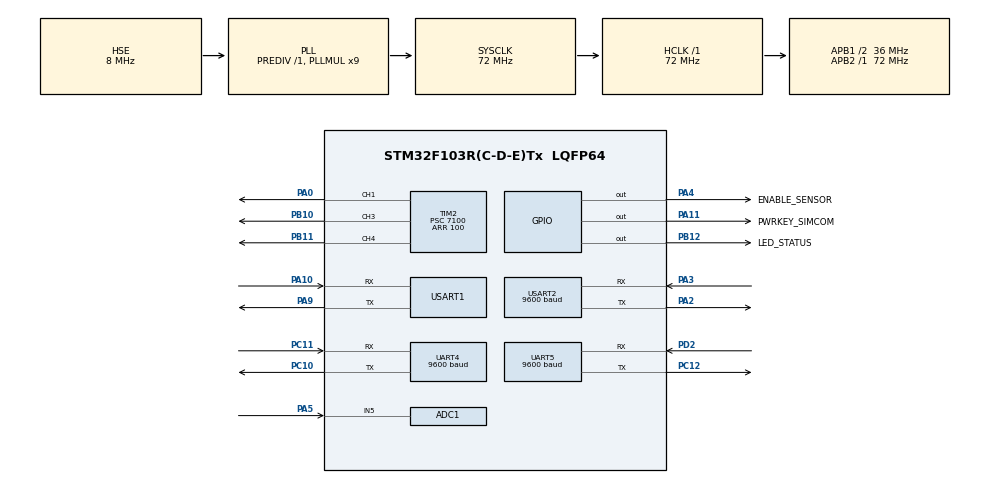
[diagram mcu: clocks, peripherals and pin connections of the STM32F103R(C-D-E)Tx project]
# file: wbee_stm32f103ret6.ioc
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ADC1.Channel-0\#ChannelRegularConversion=ADC_CHANNEL_5
ADC1.ContinuousConvMode=ENABLE
ADC1.EnableAnalogWatchDog=false
ADC1.NbrOfConversion=1
ADC1.NbrOfConversionFlag=1
ADC1.Rank-0\#ChannelRegularConversion=1
ADC1.SamplingTime-0\#ChannelRegularConversion=ADC_SAMPLETIME_239CYCLES_5
ADC1.master=1
Dma.ADC1.0.Direction=DMA_PERIPH_TO_MEMORY
Dma.ADC1.0.Instance=DMA1_Channel1
Dma.ADC1.0.MemDataAlignment=DMA_MDATAALIGN_HALFWORD
Dma.ADC1.0.MemInc=DMA_MINC_ENABLE
Dma.ADC1.0.Mode=DMA_CIRCULAR
Dma.ADC1.0.PeriphDataAlignment=DMA_PDATAALIGN_HALFWORD
Dma.ADC1.0.PeriphInc=DMA_PINC_DISABLE
Dma.ADC1.0.Priority=DMA_PRIORITY_LOW
Dma.Request0=ADC1
IWDG.Prescaler=IWDG_PRESCALER_256
Mcu.Family=STM32F1
Mcu.Name=STM32F103R(C-D-E)Tx
Mcu.Package=LQFP64
NVIC.DMA1_Channel1_IRQn=true\:14\:0\:true\:false\:true\:false\:true\:true
NVIC.FLASH_IRQn=true\:0\:0\:false\:false\:true\:true\:true\:true
NVIC.PriorityGroup=NVIC_PRIORITYGROUP_4
NVIC.RCC_IRQn=true\:0\:0\:false\:false\:true\:true\:false\:true
NVIC.TIM3_IRQn=true\:1\:0\:true\:false\:true\:true\:true\:true
NVIC.TIM6_IRQn=true\:2\:0\:true\:false\:true\:true\:true\:true
NVIC.UART4_IRQn=true\:6\:0\:true\:false\:true\:true\:true\:true
NVIC.UART5_IRQn=true\:1\:0\:true\:false\:true\:true\:true\:true
NVIC.USART1_IRQn=true\:2\:0\:true\:false\:true\:true\:true\:true
NVIC.USART2_IRQn=true\:3\:0\:true\:false\:true\:true\:true\:true
PA0-WKUP.Signal=S_TIM2_CH1_ETR
PA10.Mode=Asynchronous
PA10.Signal=USART1_RX
PA11.GPIO_Label=PWRKEY_SIMCOM
PA11.Signal=GPIO_Output
PA13.Mode=Trace_Asynchronous_SW
PA13.Signal=SYS_JTMS-SWDIO
PA14.Mode=Trace_Asynchronous_SW
PA14.Signal=SYS_JTCK-SWCLK
PA2.Mode=Asynchronous
PA2.Signal=USART2_TX
PA3.Mode=Asynchronous
PA3.Signal=USART2_RX
PA4.GPIO_Label=ENABLE_SENSOR
PA4.GPIO_PuPd=GPIO_PULLDOWN
PA4.Signal=GPIO_Output
PA5.Signal=ADCx_IN5
PA9.Mode=Asynchronous
PA9.Signal=USART1_TX
PB10.Signal=S_TIM2_CH3
PB11.Signal=S_TIM2_CH4
PB12.GPIO_Label=LED_STATUS
PB12.Signal=GPIO_Output
PB3.Mode=Trace_Asynchronous_SW
PB3.Signal=SYS_JTDO-TRACESWO
PC10.Mode=Asynchronous
PC10.Signal=UART4_TX
PC11.Mode=Asynchronous
PC11.Signal=UART4_RX
PC12.Mode=Asynchronous
PC12.Signal=UART5_TX
PD0-OSC_IN.Mode=HSE-External-Oscillator
PD0-OSC_IN.Signal=RCC_OSC_IN
PD1-OSC_OUT.Mode=HSE-External-Oscillator
PD1-OSC_OUT.Signal=RCC_OSC_OUT
PD2.Mode=Asynchronous
PD2.Signal=UART5_RX
ProjectManager.HeapSize=0x200
ProjectManager.StackSize=0x400
ProjectManager.TargetToolchain=STM32CubeIDE
RCC.ADCPresc=RCC_ADCPCLK2_DIV6
RCC.AHBFreq_Value=72000000
RCC.APB1CLKDivider=RCC_HCLK_DIV2
RCC.APB1Freq_Value=36000000
RCC.APB1TimFreq_Value=72000000
RCC.APB2Freq_Value=72000000
RCC.APB2TimFreq_Value=72000000
RCC.HCLKFreq_Value=72000000
RCC.PLLMUL=RCC_PLL_MUL9
RCC.PLLSourceVirtual=RCC_PLLSOURCE_HSE
RCC.SYSCLKFreq_VALUE=72000000
RCC.SYSCLKSource=RCC_SYSCLKSOURCE_PLLCLK
RCC.USBFreq_Value=72000000
SH.ADCx_IN5.0=ADC1_IN5,IN5
SH.S_TIM2_CH1_ETR.0=TIM2_CH1,PWM Generation1 CH1
SH.S_TIM2_CH3.0=TIM2_CH3,PWM Generation3 CH3
SH.S_TIM2_CH4.0=TIM2_CH4,PWM Generation4 CH4
TIM2.Channel-PWM\ Generation1\ CH1=TIM_CHANNEL_1
TIM2.Channel-PWM\ Generation3\ CH3=TIM_CHANNEL_3
TIM2.Channel-PWM\ Generation4\ CH4=TIM_CHANNEL_4
TIM2.Period=100
TIM2.Prescaler=7100
TIM2.Pulse-PWM\ Generation1\ CH1=99
TIM2.Pulse-PWM\ Generation3\ CH3=99
TIM2.Pulse-PWM\ Generation4\ CH4=99
TIM3.Period=999
TIM3.Prescaler=59999
TIM6.Period=1999
TIM6.Prescaler=35999
UART4.BaudRate=9600
UART4.VirtualMode=Asynchronous
UART5.BaudRate=9600
UART5.VirtualMode=Asynchronous
USART1.VirtualMode=VM_ASYNC
USART2.BaudRate=9600
USART2.VirtualMode=VM_ASYNC
VP_IWDG_VS_IWDG.Mode=IWDG_Activate
VP_TIM2_VS_ClockSourceINT.Mode=Internal
VP_TIM3_VS_ClockSourceINT.Mode=Internal
VP_TIM6_VS_ClockSourceINT.Mode=Enable_Timer
board=custom

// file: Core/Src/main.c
/* USER CODE BEGIN Header */
/**
 ******************************************************************************
 * @file           : main.c
 * @brief          : Main program body
 ******************************************************************************
 * @attention
 *
 * Copyright (c) 2025 STMicroelectronics.
 * All rights reserved.
 *
 * This software is licensed under terms that can be found in the LICENSE file
 * in the root directory of this software component.
 * If no LICENSE file comes with this software, it is provided AS-IS.
 *
 ******************************************************************************
 */
/* USER CODE END Header */
#include "main.h"

/* USER CODE BEGIN Includes */
#include "cfg_store.h"
#include "ph_json_uart5_rx.h"
#include "ph_pump_isr.h"
#include "ph_pump_scheduler.h"
#include "plc_rs485.h"
#include "ota_update.h"
#include "mobi_mqtt.h"
#include "stdbool.h"
#include "stdio.h"
#include "stdlib.h"
#include "string.h"
#include <config.h>
#include <stdio.h>

/* USER CODE END Includes */

/* USER CODE BEGIN PTD */
ph_ctrl_cfg_t g_cfg;
ph_pump_isr_sm_t ph_sm_isr;

// static ph_dual_sm_t ph_sm;
volatile uint32_t g_control_mode = 0; // 0=Offline, 1=Online

/* USER CODE END PTD */

/* USER CODE BEGIN PM */
int _write(int file, char *ptr, int len) {

  int i;
  for (i = 0; i < len; i++) {
    ITM_SendChar(*ptr++);
  }
  return len;
}

/* USER CODE END PM */

ADC_HandleTypeDef hadc1;
DMA_HandleTypeDef hdma_adc1;

IWDG_HandleTypeDef hiwdg;

TIM_HandleTypeDef htim2;
TIM_HandleTypeDef htim3;
TIM_HandleTypeDef htim6;

UART_HandleTypeDef huart4;
UART_HandleTypeDef huart5;
UART_HandleTypeDef huart1;
UART_HandleTypeDef huart2;

/* USER CODE BEGIN PV */
static volatile uint16_t lcd_update_counter_1hz = 0;

/* USER CODE END PV */

void SystemClock_Config(void);
static void MX_GPIO_Init(void);
static void MX_DMA_Init(void);
static void MX_IWDG_Init(void);
static void MX_TIM6_Init(void);
static void MX_UART4_Init(void);
static void MX_USART1_UART_Init(void);
static void MX_USART2_UART_Init(void);
static void MX_TIM2_Init(void);
static void MX_TIM3_Init(void);
static void MX_ADC1_Init(void);
static void MX_UART5_Init(void);

/* USER CODE BEGIN PFP */

void HAL_TIM_PeriodElapsedCallback(TIM_HandleTypeDef *htim) {
  if (htim->Instance == htim6.Instance) {
    // ===== (A) GIỮ NGUYÊN phần SIMCOM đếm gửi server =====
    frequency_1hz++;
    lcd_update_counter_1hz++;
    plc_rs485_tick_1s();
    if (current_status_simcom == Subscribed) {
      if (frequency_1hz >= INTERVAL_PUPLISH_DATA) {
        //        current_status_simcom = UpdateToServer;
        to_send_status_to_server = 1;
        frequency_1hz = 0;

        // NOTE: KHÔNG NÊN printf ở ISR (nếu cần debug thì set flag)
        // printf("Case error log total :%d\r\n", total_errors);
      }
    }
    // ===== (B) LỊCH BƠM chạy trong ISR mỗi 1s (chỉ Offline) =====
#if PH_PUMP_SCHEDULE_ENABLE
    ph_pump_isr_tick_1s(&ph_sm_isr, &g_cfg, data_measured_ph_fuvitech, &htim2, &motor_ph_plus, &motor_ph_minus);
#endif

    // NOTE: dòng này thường KHÔNG cần gọi trong callback (timer tự chạy)
    // HAL_TIM_Base_Start_IT(&htim6);
  }
}

static bool publish_command_response_with_retry(const char *request_id,
                                                const char *command,
                                                const char *result,
                                                const char *error_code) {
  for (uint8_t attempt = 0U; attempt < 3U; attempt++) {
    IWDG->KR = 0xAAAA;
    if (mobi_mqtt_publish_command_response(request_id, command, result,
                                           error_code)) {
      return true;
    }
    printf("[MQTT] command response retry %u/3\r\n",
           (unsigned int)(attempt + 1U));
  }
  return false;
}

void process_uart_rx(void) {
  if (!g_rx_flag)
    return;
  g_rx_flag = 0;

  // trim CRLF
  for (int i = (int)strlen(g_rx_line) - 1; i >= 0; i--) {
    if (g_rx_line[i] == '\r' || g_rx_line[i] == '\n')
      g_rx_line[i] = '\0';
    else
      break;
  }

  // 1) mode-only
  uint32_t mode;
  if (parse_mode_json(g_rx_line, &mode)) {
    mode = mode ? 1U : 0U;
    if (g_cfg.control_mode != mode) {
      g_cfg.control_mode = mode;
      cfg_print(&g_cfg, "MODE UPDATE");
      cfg_save_to_flash();
      g_control_mode = g_cfg.control_mode;
    }

    // reset lịch bơm trong ISR
    ph_pump_isr_request_reset();
    return;
  }

  // 2) config 5 field (giữ control_mode)
  ph_ctrl_cfg_t cfg_tmp = g_cfg;
  if (parse_control_json(g_rx_line, &cfg_tmp)) {
    g_cfg = cfg_tmp;
    cfg_print(&g_cfg, "CFG UPDATE");
    cfg_save_to_flash();

    // reset lịch bơm trong ISR để áp dụng config mới
    ph_pump_isr_request_reset();
    return;
  }

  printf("JSON invalid\r\n");
}

/* USER CODE END PFP */

/* USER CODE BEGIN 0 */
char rx_buffer[700];
enum GmsModemState current_status_simcom = Off;
uint16_t adc_pin_valve;

/* USER CODE END 0 */

int main(void) {

  /* MCU Configuration--------------------------------------------------------*/

  /* Reset of all peripherals, Initializes the Flash interface and the Systick. */
  HAL_Init();

  /* Configure the system clock */
  SystemClock_Config();

  /* Initialize all configured peripherals */
  MX_GPIO_Init();
  MX_DMA_Init();
  MX_IWDG_Init();
  MX_TIM6_Init();
  MX_UART4_Init();
  MX_USART1_UART_Init();
  MX_USART2_UART_Init();
  MX_TIM2_Init();
  MX_TIM3_Init();
  MX_ADC1_Init();
  MX_UART5_Init();
  /* USER CODE BEGIN 2 */
  HAL_Delay(500);
  printf("Hello Hbee \r\n");
  HAL_UARTEx_ReceiveToIdle_IT(&huart1, (uint8_t *)rx_buffer, 700);
  HAL_UARTEx_ReceiveToIdle_IT(&huart2, (uint8_t *)rx_buffer_fuvitech, 100);
  uart5_rx_start_to_idle();
  //  ph_json_uart5_rx_init(&huart5);

  HAL_TIM_Base_Start_IT(&htim6);
  HAL_ADC_Start_DMA(&hadc1, (uint32_t *)&adc_pin_valve, 1);
  HAL_GPIO_WritePin(GPIOA, ENABLE_SENSOR_Pin, GPIO_PIN_SET);
  HAL_Delay(500);
  plc_rs485_init();
  ota_init();
  cfg_load_from_flash();
  snprintf(tx5_status_pump, sizeof(tx5_status_pump), data_status_pump,
           device_serial_get(), motor_ph_plus, motor_ph_minus, motor_x);
  is_publish_data_lcd = update_data_to_sreen((uint8_t *)tx5_status_pump);
#if SENSOR_DATA_SOURCE == SENSOR_SOURCE_DIRECT
  read_sensor();
#endif
  create_JSON_LCD();
  HAL_Delay(200);
  is_publish_data_lcd = update_data_to_sreen((uint8_t *)array_json);
  snprintf(tx5_status_pump, sizeof(tx5_status_pump), data_status_pump,
           device_serial_get(), motor_ph_plus, motor_ph_minus, motor_x);
  HAL_Delay(700);
  is_publish_data_lcd = update_data_to_sreen((uint8_t *)tx5_status_pump);
  ph_pump_isr_init(&ph_sm_isr);

  //  control_mode=ONLINE;
  /* USER CODE END 2 */

  /* Infinite loop */
  while (1) {

    /* USER CODE BEGIN 3 */
    check_handle_state(current_status_simcom);
    if (to_change_serial_number && current_status_simcom == Subscribed) {
      char request_id[MQTT_REQUEST_ID_MAX_LEN];
      char new_serial[DEVICE_SERIAL_MAX_LEN];

      __disable_irq();
      to_change_serial_number = false;
      snprintf(request_id, sizeof(request_id), "%s", serial_request_id);
      snprintf(new_serial, sizeof(new_serial), "%s",
               requested_serial_number);
      __enable_irq();

      if (!device_serial_is_valid(new_serial)) {
        printf("[SERIAL] rejected invalid value: %s\r\n", new_serial);
        publish_command_response_with_retry(request_id, "set_serial_number",
                                            "rejected",
                                            "INVALID_SERIAL_NUMBER");
      } else if (!publish_command_response_with_retry(
                     request_id, "set_serial_number", "received", NULL)) {
        printf("[SERIAL] ACK failed; serial unchanged\r\n");
      } else if (!device_serial_save(new_serial)) {
        printf("[SERIAL] Flash save failed\r\n");
        publish_command_response_with_retry(request_id, "set_serial_number",
                                            "failed", "FLASH_WRITE_FAILED");
      } else {
        printf("[SERIAL] saved new value=%s\r\n", new_serial);
        publish_command_response_with_retry(request_id, "set_serial_number",
                                            "success", NULL);
        printf("[SERIAL] reboot with new serial number\r\n");
        HAL_Delay(500);
        NVIC_SystemReset();
      }
    }
    if (to_start_ota && current_status_simcom == Subscribed) {
      char request_id[MQTT_REQUEST_ID_MAX_LEN];
      char command[MQTT_COMMAND_MAX_LEN];
      ota_result_t ota_result;

      __disable_irq();
      to_start_ota = false;
      snprintf(request_id, sizeof(request_id), "%s", ota_request_id);
      snprintf(command, sizeof(command), "%s", ota_request_command);
      __enable_irq();

      if (publish_command_response_with_retry(request_id, command,
                                              "received", NULL)) {
        printf("[OTA] command ACK sent\r\n");
      } else {
        printf("[OTA] command ACK failed; continue OTA\r\n");
      }

      printf("Start OTA check\r\n");
      ota_result = ota_check_and_download();
      if (ota_result == OTA_RESULT_OK) {
        printf("OTA verified. Resetting to bootloader...\r\n");
        HAL_Delay(500);
        NVIC_SystemReset();
      } else if (ota_result == OTA_RESULT_NO_UPDATE) {
        printf("OTA no newer version\r\n");
      } else if (ota_result == OTA_RESULT_BUSY) {
        printf("OTA is already running\r\n");
      } else {
        printf("OTA failed\r\n");
      }
    }
    if (lcd_update_counter_1hz > 5) {
      IWDG->KR = 0xAAAA;
      // process_uart_rx();
#if SENSOR_DATA_SOURCE == SENSOR_SOURCE_DIRECT
      read_sensor();
#endif
      create_JSON_LCD();
      HAL_Delay(200);
      is_publish_data_lcd = update_data_to_sreen((uint8_t *)array_json);
      lcd_update_counter_1hz = 0;
    }
    // process_uart_rx();
  }
  /* USER CODE END 3 */
}

void SystemClock_Config(void) {
  RCC_OscInitTypeDef RCC_OscInitStruct = {0};
  RCC_ClkInitTypeDef RCC_ClkInitStruct = {0};
  RCC_PeriphCLKInitTypeDef PeriphClkInit = {0};

  /** Initializes the RCC Oscillators according to the specified parameters
   * in the RCC_OscInitTypeDef structure.
   */
  RCC_OscInitStruct.OscillatorType = RCC_OSCILLATORTYPE_LSI | RCC_OSCILLATORTYPE_HSE;
  RCC_OscInitStruct.HSEState = RCC_HSE_ON;
  RCC_OscInitStruct.HSEPredivValue = RCC_HSE_PREDIV_DIV1;
  RCC_OscInitStruct.HSIState = RCC_HSI_ON;
  RCC_OscInitStruct.LSIState = RCC_LSI_ON;
  RCC_OscInitStruct.PLL.PLLState = RCC_PLL_ON;
  RCC_OscInitStruct.PLL.PLLSource = RCC_PLLSOURCE_HSE;
  RCC_OscInitStruct.PLL.PLLMUL = RCC_PLL_MUL9;
  if (HAL_RCC_OscConfig(&RCC_OscInitStruct) != HAL_OK) {
    Error_Handler();
  }

  /** Initializes the CPU, AHB and APB buses clocks
   */
  RCC_ClkInitStruct.ClockType = RCC_CLOCKTYPE_HCLK | RCC_CLOCKTYPE_SYSCLK | RCC_CLOCKTYPE_PCLK1 | RCC_CLOCKTYPE_PCLK2;
  RCC_ClkInitStruct.SYSCLKSource = RCC_SYSCLKSOURCE_PLLCLK;
  RCC_ClkInitStruct.AHBCLKDivider = RCC_SYSCLK_DIV1;
  RCC_ClkInitStruct.APB1CLKDivider = RCC_HCLK_DIV2;
  RCC_ClkInitStruct.APB2CLKDivider = RCC_HCLK_DIV1;

  if (HAL_RCC_ClockConfig(&RCC_ClkInitStruct, FLASH_LATENCY_2) != HAL_OK) {
    Error_Handler();
  }
  PeriphClkInit.PeriphClockSelection = RCC_PERIPHCLK_ADC;
  PeriphClkInit.AdcClockSelection = RCC_ADCPCLK2_DIV6;
  if (HAL_RCCEx_PeriphCLKConfig(&PeriphClkInit) != HAL_OK) {
    Error_Handler();
  }
}

static void MX_ADC1_Init(void) {

  ADC_ChannelConfTypeDef sConfig = {0};

  /** Common config
   */
  hadc1.Instance = ADC1;
  hadc1.Init.ScanConvMode = ADC_SCAN_DISABLE;
  hadc1.Init.ContinuousConvMode = ENABLE;
  hadc1.Init.DiscontinuousConvMode = DISABLE;
  hadc1.Init.ExternalTrigConv = ADC_SOFTWARE_START;
  hadc1.Init.DataAlign = ADC_DATAALIGN_RIGHT;
  hadc1.Init.NbrOfConversion = 1;
  if (HAL_ADC_Init(&hadc1) != HAL_OK) {
    Error_Handler();
  }

  /** Configure Regular Channel
   */
  sConfig.Channel = ADC_CHANNEL_5;
  sConfig.Rank = ADC_REGULAR_RANK_1;
  sConfig.SamplingTime = ADC_SAMPLETIME_239CYCLES_5;
  if (HAL_ADC_ConfigChannel(&hadc1, &sConfig) != HAL_OK) {
    Error_Handler();
  }
}

static void MX_IWDG_Init(void) {

  hiwdg.Instance = IWDG;
  hiwdg.Init.Prescaler = IWDG_PRESCALER_256;
  hiwdg.Init.Reload = 4095;
  if (HAL_IWDG_Init(&hiwdg) != HAL_OK) {
    Error_Handler();
  }
}

static void MX_TIM2_Init(void) {

  TIM_ClockConfigTypeDef sClockSourceConfig = {0};
  TIM_MasterConfigTypeDef sMasterConfig = {0};
  TIM_OC_InitTypeDef sConfigOC = {0};

  htim2.Instance = TIM2;
  htim2.Init.Prescaler = 7100;
  htim2.Init.CounterMode = TIM_COUNTERMODE_UP;
  htim2.Init.Period = 100;
  htim2.Init.ClockDivision = TIM_CLOCKDIVISION_DIV1;
  htim2.Init.AutoReloadPreload = TIM_AUTORELOAD_PRELOAD_DISABLE;
  if (HAL_TIM_Base_Init(&htim2) != HAL_OK) {
    Error_Handler();
  }
  sClockSourceConfig.ClockSource = TIM_CLOCKSOURCE_INTERNAL;
  if (HAL_TIM_ConfigClockSource(&htim2, &sClockSourceConfig) != HAL_OK) {
    Error_Handler();
  }
  if (HAL_TIM_PWM_Init(&htim2) != HAL_OK) {
    Error_Handler();
  }
  sMasterConfig.MasterOutputTrigger = TIM_TRGO_RESET;
  sMasterConfig.MasterSlaveMode = TIM_MASTERSLAVEMODE_DISABLE;
  if (HAL_TIMEx_MasterConfigSynchronization(&htim2, &sMasterConfig) != HAL_OK) {
    Error_Handler();
  }
  sConfigOC.OCMode = TIM_OCMODE_PWM1;
  sConfigOC.Pulse = 99;
  sConfigOC.OCPolarity = TIM_OCPOLARITY_HIGH;
  sConfigOC.OCFastMode = TIM_OCFAST_DISABLE;
  if (HAL_TIM_PWM_ConfigChannel(&htim2, &sConfigOC, TIM_CHANNEL_1) != HAL_OK) {
    Error_Handler();
  }
  if (HAL_TIM_PWM_ConfigChannel(&htim2, &sConfigOC, TIM_CHANNEL_3) != HAL_OK) {
    Error_Handler();
  }
  if (HAL_TIM_PWM_ConfigChannel(&htim2, &sConfigOC, TIM_CHANNEL_4) != HAL_OK) {
    Error_Handler();
  }
  HAL_TIM_MspPostInit(&htim2);
}

static void MX_TIM3_Init(void) {

  TIM_ClockConfigTypeDef sClockSourceConfig = {0};
  TIM_MasterConfigTypeDef sMasterConfig = {0};

  htim3.Instance = TIM3;
  htim3.Init.Prescaler = 59999;
  htim3.Init.CounterMode = TIM_COUNTERMODE_UP;
  htim3.Init.Period = 999;
  htim3.Init.ClockDivision = TIM_CLOCKDIVISION_DIV1;
  htim3.Init.AutoReloadPreload = TIM_AUTORELOAD_PRELOAD_DISABLE;
  if (HAL_TIM_Base_Init(&htim3) != HAL_OK) {
    Error_Handler();
  }
  sClockSourceConfig.ClockSource = TIM_CLOCKSOURCE_INTERNAL;
  if (HAL_TIM_ConfigClockSource(&htim3, &sClockSourceConfig) != HAL_OK) {
    Error_Handler();
  }
  sMasterConfig.MasterOutputTrigger = TIM_TRGO_RESET;
  sMasterConfig.MasterSlaveMode = TIM_MASTERSLAVEMODE_DISABLE;
  if (HAL_TIMEx_MasterConfigSynchronization(&htim3, &sMasterConfig) != HAL_OK) {
    Error_Handler();
  }
}

static void MX_TIM6_Init(void) {

  TIM_MasterConfigTypeDef sMasterConfig = {0};

  htim6.Instance = TIM6;
  htim6.Init.Prescaler = 35999;
  htim6.Init.CounterMode = TIM_COUNTERMODE_UP;
  htim6.Init.Period = 1999;
  htim6.Init.AutoReloadPreload = TIM_AUTORELOAD_PRELOAD_DISABLE;
  if (HAL_TIM_Base_Init(&htim6) != HAL_OK) {
    Error_Handler();
  }
  sMasterConfig.MasterOutputTrigger = TIM_TRGO_RESET;
  sMasterConfig.MasterSlaveMode = TIM_MASTERSLAVEMODE_DISABLE;
  if (HAL_TIMEx_MasterConfigSynchronization(&htim6, &sMasterConfig) != HAL_OK) {
    Error_Handler();
  }
}

static void MX_UART4_Init(void) {

  huart4.Instance = UART4;
  huart4.Init.BaudRate = 9600;
  huart4.Init.WordLength = UART_WORDLENGTH_8B;
  huart4.Init.StopBits = UART_STOPBITS_1;
  huart4.Init.Parity = UART_PARITY_NONE;
  huart4.Init.Mode = UART_MODE_TX_RX;
  huart4.Init.HwFlowCtl = UART_HWCONTROL_NONE;
  huart4.Init.OverSampling = UART_OVERSAMPLING_16;
  if (HAL_UART_Init(&huart4) != HAL_OK) {
    Error_Handler();
  }
}

static void MX_UART5_Init(void) {

  huart5.Instance = UART5;
  huart5.Init.BaudRate = 9600;
  huart5.Init.WordLength = UART_WORDLENGTH_8B;
  huart5.Init.StopBits = UART_STOPBITS_1;
  huart5.Init.Parity = UART_PARITY_NONE;
  huart5.Init.Mode = UART_MODE_TX_RX;
  huart5.Init.HwFlowCtl = UART_HWCONTROL_NONE;
  huart5.Init.OverSampling = UART_OVERSAMPLING_16;
  if (HAL_UART_Init(&huart5) != HAL_OK) {
    Error_Handler();
  }
}

static void MX_USART1_UART_Init(void) {

  huart1.Instance = USART1;
  huart1.Init.BaudRate = 115200;
  huart1.Init.WordLength = UART_WORDLENGTH_8B;
  huart1.Init.StopBits = UART_STOPBITS_1;
  huart1.Init.Parity = UART_PARITY_NONE;
  huart1.Init.Mode = UART_MODE_TX_RX;
  huart1.Init.HwFlowCtl = UART_HWCONTROL_NONE;
  huart1.Init.OverSampling = UART_OVERSAMPLING_16;
  if (HAL_UART_Init(&huart1) != HAL_OK) {
    Error_Handler();
  }
}

static void MX_USART2_UART_Init(void) {

  huart2.Instance = USART2;
#if SENSOR_DATA_SOURCE == SENSOR_SOURCE_PLC_RS485
  huart2.Init.BaudRate = PLC_RS485_BAUDRATE;
  huart2.Init.WordLength = UART_WORDLENGTH_9B;
  huart2.Init.StopBits = UART_STOPBITS_1;
  huart2.Init.Parity = UART_PARITY_EVEN;
#else
  huart2.Init.BaudRate = 9600;
  huart2.Init.WordLength = UART_WORDLENGTH_8B;
  huart2.Init.StopBits = UART_STOPBITS_1;
  huart2.Init.Parity = UART_PARITY_NONE;
#endif
  huart2.Init.Mode = UART_MODE_TX_RX;
  huart2.Init.HwFlowCtl = UART_HWCONTROL_NONE;
  huart2.Init.OverSampling = UART_OVERSAMPLING_16;
  if (HAL_UART_Init(&huart2) != HAL_OK) {
    Error_Handler();
  }
}

static void MX_DMA_Init(void) {

  /* DMA controller clock enable */
  __HAL_RCC_DMA1_CLK_ENABLE();

  /* DMA interrupt init */
  /* DMA1_Channel1_IRQn interrupt configuration */
  HAL_NVIC_SetPriority(DMA1_Channel1_IRQn, 14, 0);
  HAL_NVIC_EnableIRQ(DMA1_Channel1_IRQn);
}

static void MX_GPIO_Init(void) {
  GPIO_InitTypeDef GPIO_InitStruct = {0};

  /* GPIO Ports Clock Enable */
  __HAL_RCC_GPIOD_CLK_ENABLE();
  __HAL_RCC_GPIOA_CLK_ENABLE();
  __HAL_RCC_GPIOB_CLK_ENABLE();
  __HAL_RCC_GPIOC_CLK_ENABLE();

  /*Configure GPIO pin Output Level */
  HAL_GPIO_WritePin(GPIOA, ENABLE_SENSOR_Pin | PWRKEY_SIMCOM_Pin, GPIO_PIN_RESET);

  /*Configure GPIO pin Output Level */
  HAL_GPIO_WritePin(LED_STATUS_GPIO_Port, LED_STATUS_Pin, GPIO_PIN_RESET);

  /*Configure GPIO pin : ENABLE_SENSOR_Pin */
  GPIO_InitStruct.Pin = ENABLE_SENSOR_Pin;
  GPIO_InitStruct.Mode = GPIO_MODE_OUTPUT_PP;
  GPIO_InitStruct.Pull = GPIO_PULLDOWN;
  GPIO_InitStruct.Speed = GPIO_SPEED_FREQ_LOW;
  HAL_GPIO_Init(ENABLE_SENSOR_GPIO_Port, &GPIO_InitStruct);

  /*Configure GPIO pin : LED_STATUS_Pin */
  GPIO_InitStruct.Pin = LED_STATUS_Pin;
  GPIO_InitStruct.Mode = GPIO_MODE_OUTPUT_PP;
  GPIO_InitStruct.Pull = GPIO_NOPULL;
  GPIO_InitStruct.Speed = GPIO_SPEED_FREQ_LOW;
  HAL_GPIO_Init(LED_STATUS_GPIO_Port, &GPIO_InitStruct);

  /*Configure GPIO pin : PWRKEY_SIMCOM_Pin */
  GPIO_InitStruct.Pin = PWRKEY_SIMCOM_Pin;
  GPIO_InitStruct.Mode = GPIO_MODE_OUTPUT_PP;
  GPIO_InitStruct.Pull = GPIO_NOPULL;
  GPIO_InitStruct.Speed = GPIO_SPEED_FREQ_LOW;
  HAL_GPIO_Init(PWRKEY_SIMCOM_GPIO_Port, &GPIO_InitStruct);

}

void Error_Handler(void) {
  __disable_irq();
  while (1) {
  }
}
